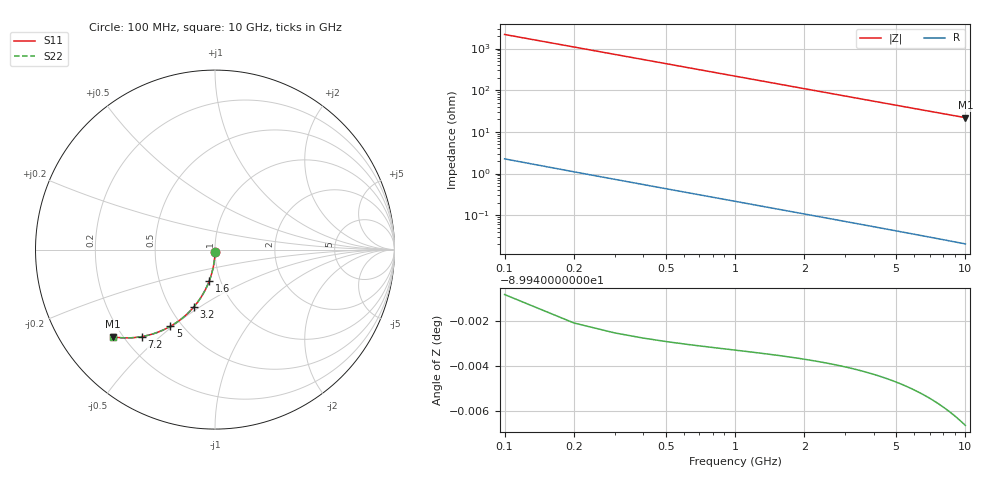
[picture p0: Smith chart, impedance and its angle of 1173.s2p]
# Hz S RI R 50.00
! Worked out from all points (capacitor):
!   100 points, 100 MHz to 10 GHz, reference 50 ohm
!   read as one part in shunt: C = 732 fF near 100 MHz
!   lowest |Z| = 21.9 ohm at 10 GHz (marker M1)
!   S11 on the Smith chart (normalised r, x): 100 MHz: 1.00, -0.02; 1.6 GHz: 0.88, -0.32; 3.2 GHz: 0.65, -0.47; 5 GHz: 0.43, -0.49; 7.2 GHz: 0.27, -0.44; 10 GHz: 0.16, -0.36
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1e8  -8.57e-05 -0.0114  0.9998 -0.0116  0.9998 -0.0116  -8.57e-05 -0.0114
2e8  -0.000493 -0.0228  0.9994 -0.0232  0.9994 -0.0232  -0.000493 -0.0228
3e8  -0.00116 -0.0342  0.9987 -0.0347  0.9987 -0.0347  -0.00116 -0.0342
4e8  -0.0021 -0.0455  0.9978 -0.0462  0.9978 -0.0462  -0.0021 -0.0455
5e8  -0.00329 -0.0569  0.9966 -0.0577  0.9966 -0.0577  -0.00329 -0.0569
6e8  -0.00475 -0.0681  0.9951 -0.0692  0.9951 -0.0692  -0.00475 -0.0681
7e8  -0.00646 -0.0794  0.9934 -0.0806  0.9934 -0.0806  -0.00646 -0.0794
9e8  -0.0106 -0.1016  0.9892 -0.1032  0.9892 -0.1032  -0.0106 -0.1016
1.2e9  -0.0188 -0.1343  0.9811 -0.1364  0.9811 -0.1364  -0.0188 -0.1343
1.6e9  -0.0328 -0.1765  0.967 -0.1793  0.967 -0.1793  -0.0328 -0.1765
1.8e9  -0.0412 -0.1968  0.9587 -0.2  0.9587 -0.2  -0.0412 -0.1968
2.4e9  -0.0709 -0.2542  0.9289 -0.2584  0.9289 -0.2584  -0.0709 -0.2542
2.8e9  -0.0941 -0.2891  0.9058 -0.294  0.9058 -0.294  -0.0941 -0.2891
3.2e9  -0.1195 -0.3211  0.8804 -0.3267  0.8804 -0.3267  -0.1195 -0.3211
3.4e9  -0.1328 -0.336  0.8671 -0.3419  0.8671 -0.3419  -0.1328 -0.336
4.2e9  -0.1894 -0.3877  0.8105 -0.395  0.8105 -0.395  -0.1894 -0.3877
5e9  -0.2487 -0.4274  0.7511 -0.4362  0.7511 -0.4362  -0.2487 -0.4274
5.1e9  -0.2562 -0.4316  0.7437 -0.4405  0.7437 -0.4405  -0.2562 -0.4316
6.7e9  -0.3728 -0.4772  0.627 -0.4889  0.627 -0.4889  -0.3728 -0.4772
7.2e9  -0.407 -0.4845  0.5927 -0.4971  0.5927 -0.4971  -0.407 -0.4845
8.4e9  -0.4831 -0.4918  0.5166 -0.5066  0.5166 -0.5066  -0.4831 -0.4918
1e10  -0.57 -0.4857  0.4297 -0.5034  0.4297 -0.5034  -0.57 -0.4857
